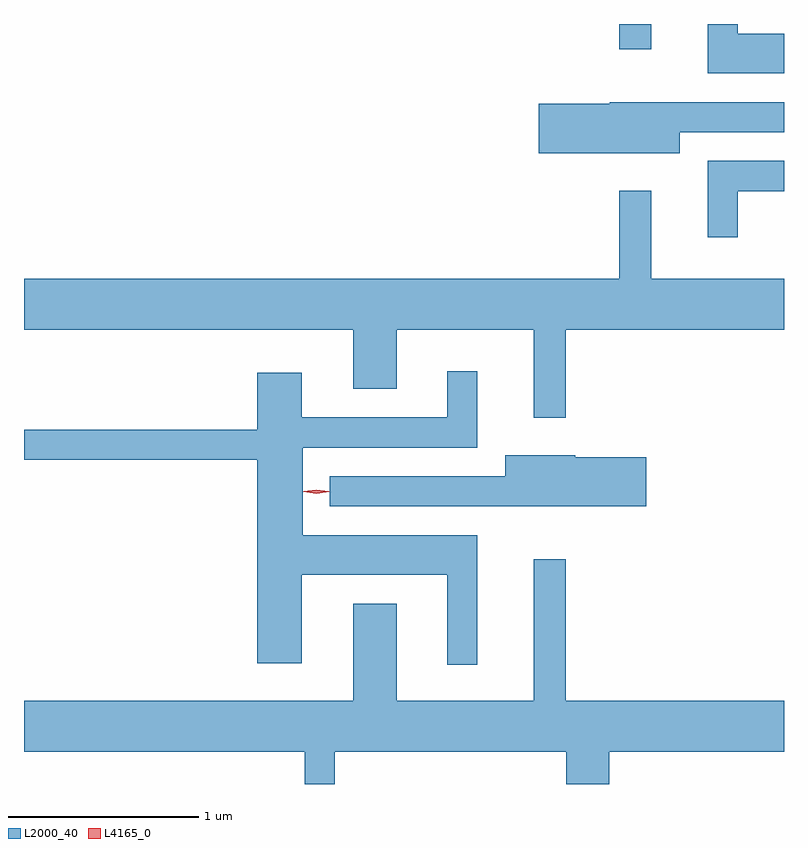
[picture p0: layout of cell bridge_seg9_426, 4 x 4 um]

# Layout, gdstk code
import gdstk
lib = gdstk.Library(unit=1e-6, precision=1e-09)
def R(c, l, rs):  # rectangles x0, y0, x1, y1
    for r in rs: c.add(gdstk.rectangle(r[:2], r[2:], *l))
def P(c, l, *ps):  # polygons
    for p in ps: c.add(gdstk.Polygon(p, *l))
L2000_40 = (2000, 40)
L4165_0 = (4165, 0)

bridge_seg9_426 = lib.new_cell('bridge_seg9_426')
R(bridge_seg9_426, L2000_40, [(351.511,2059.893,351.679,2060.025)])
P(bridge_seg9_426, L2000_40, [(352.378,2059.974),(352.134,2059.974),(352.134,2060.025),(351.976,2060.025),(351.976,2059.766),(352.378,2059.766)],
  [(351.829,2059.456),(352.378,2059.456),(352.378,2059.614),(351.46,2059.614),(351.46,2059.604),(351.086,2059.604),(351.086,2059.346),(351.829,2059.346)],
  [(352.134,2059.146),(352.378,2059.146),(352.378,2059.304),(351.976,2059.304),(351.976,2058.903),(352.134,2058.903)],
  [(348.378,2058.416),(350.111,2058.416),(350.111,2058.106),(350.339,2058.106),(350.339,2058.416),(351.061,2058.416),(351.061,2057.952),(351.229,2057.952),(351.229,2058.416),(352.378,2058.416),(352.378,2058.684),(351.679,2058.684),(351.679,2059.148),(351.511,2059.148),(351.511,2058.684),(348.378,2058.684)],
  [(350.764,2057.334),(349.844,2057.334),(349.844,2057.796),(350.764,2057.796),(350.764,2058.198),(350.606,2058.198),(350.606,2057.954),(349.839,2057.954),(349.839,2058.189),(349.606,2058.189),(349.606,2057.889),(348.378,2057.889),(348.378,2057.731),(349.606,2057.731),(349.606,2056.661),(349.839,2056.661),(349.839,2057.126),(350.606,2057.126),(350.606,2056.653),(350.764,2056.653)],
  [(351.654,2057.744),(351.28,2057.744),(351.28,2057.754),(350.911,2057.754),(350.911,2057.644),(349.988,2057.644),(349.988,2057.486),(351.654,2057.486)],
  [(350.014,2056.196),(351.231,2056.196),(351.231,2056.025),(351.459,2056.025),(351.459,2056.196),(352.378,2056.196),(352.378,2056.464),(351.229,2056.464),(351.229,2057.208),(351.061,2057.208),(351.061,2056.464),(350.339,2056.464),(350.339,2056.974),(350.111,2056.974),(350.111,2056.464),(348.378,2056.464),(348.378,2056.196),(349.856,2056.196),(349.856,2056.025),(350.014,2056.025)])
P(bridge_seg9_426, L4165_0, [(349.917,2057.553),(349.848,2057.563),(349.847,2057.563),(349.848,2057.564),(349.917,2057.573),(349.986,2057.564),(349.986,2057.563),(349.986,2057.563)],
  [(349.917,2057.555),(349.851,2057.564),(349.851,2057.565),(349.851,2057.566),(349.917,2057.575),(349.982,2057.566),(349.983,2057.565),(349.982,2057.564)])

lib.write_gds('bridge_seg9_426.gds')
